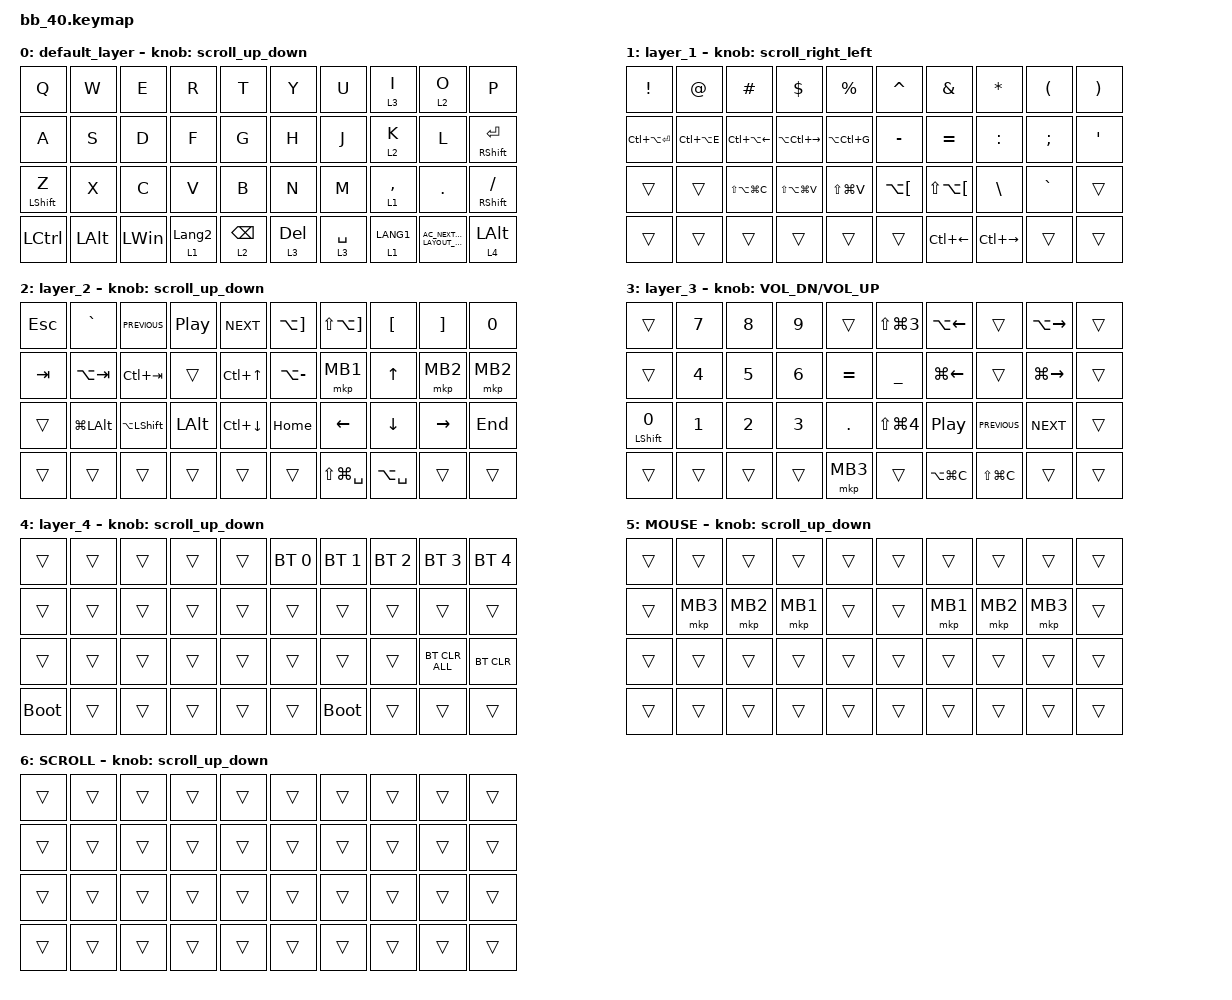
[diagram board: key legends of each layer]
#include <input/processors.dtsi>
#include <dt-bindings/zmk/input_transform.h>
#include <zephyr/dt-bindings/input/input-event-codes.h>
#include <behaviors.dtsi>
#include <dt-bindings/zmk/bt.h>
#include <dt-bindings/zmk/keys.h>
#include <dt-bindings/zmk/pointing.h>

#define MOUSE 5
#define SCROLL 6

&mt {
    flavor = "balanced";
    quick-tap-ms = <0>;
    tapping-term-ms = <180>;
};

&lt {
    quick-tap-ms = <300>;
    flavor = "balanced";
};

/ {
    combos {
        compatible = "zmk,combos";

        layer4_ESC {
            bindings = <&lt 4 ESC>;
            key-positions = <1 0>;
            timeout-ms = <25>;
        };

        tab {
            bindings = <&kp TAB>;
            key-positions = <21 22>;
            timeout-ms = <30>;
        };
    };

    macros {
        to_layer_0: to_layer_0 {
            compatible = "zmk,behavior-macro-one-param";
            #binding-cells = <1>;
            bindings = <&to 0 &macro_param_1to1 &kp MACRO_PLACEHOLDER>;
            label = "TO_LAYER_0";
        };
    };

    behaviors {
        lt_to_layer_0: lt_to_layer_0 {
            compatible = "zmk,behavior-hold-tap";
            label = "LAYER_TAP_TO_0";
            bindings = <&mo>, <&to_layer_0>;

            #binding-cells = <2>;
            tapping-term-ms = <200>;
        };

        scroll_up_down: scroll_up_down {
            compatible = "zmk,behavior-sensor-rotate";
            #sensor-binding-cells = <0>;
            bindings = <&msc SCRL_UP>, <&msc SCRL_DOWN>;

            tap-ms = <20>;
        };

        scroll_right_left: scroll_right_left {
            compatible = "zmk,behavior-sensor-rotate";
            #sensor-binding-cells = <0>;
            bindings = <&msc SCRL_RIGHT>, <&msc SCRL_LEFT>;

            tap-ms = <20>;
        };
    };

    keymap {
        compatible = "zmk,keymap";

        default_layer {
            bindings = <
&kp Q             &kp W         &kp E         &kp R                        &kp T                          &kp Y  &kp U        &lt 3 I                 &lt 2 O                               &kp P
&kp A             &kp S         &kp D         &kp F                        &kp G                          &kp H  &kp J        &lt 2 K                 &kp L                                 &mt RIGHT_SHIFT ENTER
&mt LEFT_SHIFT Z  &kp X         &kp C         &kp V                        &kp B                          &kp N  &kp M        &lt 1 COMMA             &kp DOT                               &mt RIGHT_SHIFT SLASH
&kp LEFT_CONTROL  &kp LEFT_ALT  &kp LEFT_WIN  &lt_to_layer_0 1 LANGUAGE_2  &lt 2 BACKSPACE  &lt 3 DELETE         &lt 3 SPACE  &lt_to_layer_0 1 LANG1  &kp C_AC_NEXT_KEYBOARD_LAYOUT_SELECT  &lt 4 LEFT_ALT
            >;

            sensor-bindings = <&scroll_up_down>;
        };

        layer_1 {
            bindings = <
&kp EXCL           &kp AT         &kp HASH           &kp DOLLAR         &kp PERCENT            &kp CARET             &kp AMPERSAND             &kp ASTERISK   &kp LEFT_PARENTHESIS  &kp RIGHT_PARENTHESIS
&kp LC(LA(ENTER))  &kp LC(LA(E))  &kp LC(LA(LEFT))   &kp LA(LC(RIGHT))  &kp LA(LC(G))          &kp MINUS             &kp EQUAL                 &kp COLON      &kp SEMI              &kp SINGLE_QUOTE
&trans             &trans         &kp LS(LA(LG(C)))  &kp LS(LA(LG(V)))  &kp LS(LG(V))          &kp LA(LEFT_BRACKET)  &kp LS(LA(LEFT_BRACKET))  &kp BACKSLASH  &kp GRAVE             &trans
&trans             &trans         &trans             &trans             &trans         &trans                        &kp LC(LEFT)              &kp LC(RIGHT)  &trans                &trans
            >;

            sensor-bindings = <&scroll_right_left>;
        };

        layer_2 {
            bindings = <
&kp ESCAPE  &kp GRAVE         &kp C_PREVIOUS      &kp C_PLAY_PAUSE  &kp C_NEXT                &kp LA(RIGHT_BRACKET)  &kp LS(LA(RIGHT_BRACKET))  &kp LEFT_BRACKET  &kp RIGHT_BRACKET  &kp N0
&kp TAB     &kp LA(TAB)       &kp LC(TAB)         &trans            &kp LC(UP_ARROW)          &kp LA(MINUS)          &mkp MB1                   &kp UP            &mkp MB2           &mkp MB2
&trans      &kp LG(LEFT_ALT)  &kp LA(LEFT_SHIFT)  &kp LEFT_ALT      &kp LC(DOWN)              &kp HOME               &kp LEFT                   &kp DOWN          &kp RIGHT          &kp END
&trans      &trans            &trans              &trans            &trans            &trans                         &kp LS(LG(SPACE))          &kp LA(SPACE)     &trans             &trans
            >;

            sensor-bindings = <&scroll_up_down>;
        };

        layer_3 {
            bindings = <
&trans                   &kp NUMBER_7  &kp NUMBER_8  &kp NUMBER_9  &trans              &kp LS(LG(NUMBER_3))  &kp LA(LEFT)        &trans          &kp LA(RIGHT)        &trans
&trans                   &kp NUMBER_4  &kp NUMBER_5  &kp NUMBER_6  &kp EQUAL           &kp UNDERSCORE        &kp LG(LEFT_ARROW)  &trans          &kp LG(RIGHT_ARROW)  &trans
&mt LEFT_SHIFT NUMBER_0  &kp NUMBER_1  &kp NUMBER_2  &kp NUMBER_3  &kp PERIOD          &kp LS(LG(N4))        &kp C_PP            &kp C_PREVIOUS  &kp C_NEXT           &trans
&trans                   &trans        &trans        &trans        &mkp MB3    &trans                        &kp LA(LG(C))       &kp LS(LG(C))   &trans               &trans
            >;

            sensor-bindings = <&inc_dec_kp C_VOL_DN C_VOL_UP>;
        };

        layer_4 {
            bindings = <
&trans       &trans  &trans  &trans  &trans          &bt BT_SEL 0  &bt BT_SEL 1  &bt BT_SEL 2  &bt BT_SEL 3    &bt BT_SEL 4
&trans       &trans  &trans  &trans  &trans          &trans        &trans        &trans        &trans          &trans
&trans       &trans  &trans  &trans  &trans          &trans        &trans        &trans        &bt BT_CLR_ALL  &bt BT_CLR
&bootloader  &trans  &trans  &trans  &trans  &trans                &bootloader   &trans        &trans          &trans
            >;

            sensor-bindings = <&scroll_up_down>;
        };

        MOUSE {
            bindings = <
&trans  &trans    &trans    &trans    &trans          &trans  &trans    &trans    &trans    &trans
&trans  &mkp MB3  &mkp MB2  &mkp MB1  &trans          &trans  &mkp MB1  &mkp MB2  &mkp MB3  &trans
&trans  &trans    &trans    &trans    &trans          &trans  &trans    &trans    &trans    &trans
&trans  &trans    &trans    &trans    &trans  &trans          &trans    &trans    &trans    &trans
            >;

            sensor-bindings = <&scroll_up_down>;
        };

        SCROLL {
            bindings = <
&trans  &trans  &trans  &trans  &trans          &trans  &trans  &trans  &trans  &trans
&trans  &trans  &trans  &trans  &trans          &trans  &trans  &trans  &trans  &trans
&trans  &trans  &trans  &trans  &trans          &trans  &trans  &trans  &trans  &trans
&trans  &trans  &trans  &trans  &trans  &trans          &trans  &trans  &trans  &trans
            >;

            sensor-bindings = <&scroll_up_down>;
        };
    };
};
